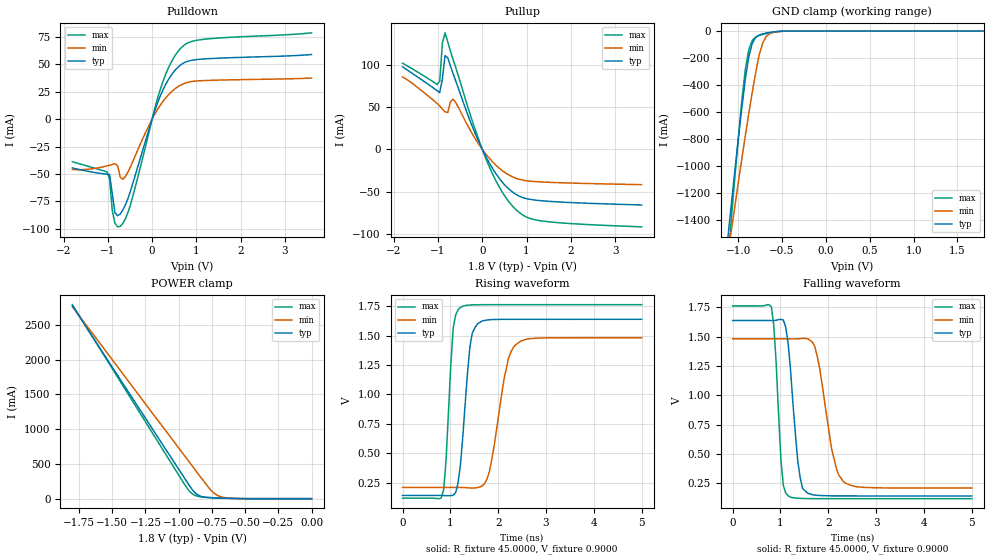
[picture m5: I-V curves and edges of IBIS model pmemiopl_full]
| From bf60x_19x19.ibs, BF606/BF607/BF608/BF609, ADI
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[Model]  pmemiopl_full
Model_type I/O
Polarity   Non-Inverting
Enable   Active-Low
Vinl =   0.6500V
Vinh =   1.1500V
Vmeas =  0.9000V
Cref =   10.0000pF
Rref =   45.0000
Vref =   0.9000V
C_comp   3.6123pF   3.9509pF   3.3683pF
[Temperature Range]   25.0000   0.1250k   0.0
[Voltage Range]   1.8000V   1.7000V   1.9000V
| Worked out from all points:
|   slope of the pulldown table from 0 to 0.27 V, typ, clamps not added: 9.42 ohm
|   slope of the pullup table from 0 to 0.27 V, typ, clamps not added: 10.5 ohm
|   GND clamp passes 1 mA (typ) near -0.49 V on its own axis
|   POWER clamp passes 1 mA (typ) near -0.53 V on its own axis
|   rising waveform, R_fixture 45.0000, V_fixture 0.9000: 20-80 % time 175ps typ, 302ps min, 128ps max; typ from 0.142 V to 1.64 V
|   falling waveform, R_fixture 45.0000, V_fixture 0.9000: 20-80 % time 177ps typ, 295ps min, 125ps max; typ from 1.64 V to 0.142 V
[Pulldown]
|Voltage   I(typ)   I(min)   I(max)
-1.8V     -44.49mA   -45.97mA   -38.75mA
-1.02V    -50.2mA    -42.59mA   -48mA
-960mV    -50.46mA   -41.97mA   -54.64mA
-900mV    -67.97mA   -41.33mA   -83.25mA
-840mV    -85.34mA   -40.61mA   -94.8mA
-780mV    -88.06mA   -42.31mA   -98.19mA
-720mV    -86.38mA   -52.97mA   -97.8mA
-480mV    -64.48mA   -42.69mA   -76.77mA
240mV     26.19mA    15.89mA    33.77mA
660mV     49.87mA    31.35mA    65.21mA
1.2V      54.91mA    35.2mA     72.91mA
3.6V      58.89mA    37.43mA    78.67mA
[Pullup]
|Voltage   I(typ)   I(min)   I(max)
-1.8V     97.36mA    85.53mA    101.7mA
-1.02V    69.26mA    54.11mA    76.6mA
-960mV    66.84mA    51mA       80.44mA
-900mV    82.93mA    47.56mA    125.5mA
-840mV    110.6mA    44.17mA    137.6mA
-780mV    108.2mA    43.43mA    127.1mA
-660mV    89.64mA    59.32mA    106.3mA
-240mV    28.95mA    19.54mA    35.9mA
120mV     -12.46mA   -8.155mA   -15.9mA
480mV     -40.59mA   -26.37mA   -53.01mA
900mV     -56.89mA   -36.38mA   -77.26mA
3.6V      -65.9mA    -41.87mA   -91.75mA
[GND_clamp]
|Voltage   I(typ)   I(min)   I(max)
-1.8V     -6.07A     -4.897A    -7.407A
-1.12V    -1.546A    -1.671A    -1.719A
-1.08V    -1.294A    -1.488A    -1.405A
-1V       -805.6mA   -1.129A    -801.4mA
-960mV    -575.4mA   -952.7mA   -523.3mA
-920mV    -361.5mA   -780.6mA   -288.5mA
-880mV    -190.9mA   -613.7mA   -138.4mA
-840mV    -90.93mA   -454mA     -68.72mA
-800mV    -46.73mA   -305.2mA   -43.97mA
-720mV    -20.7mA    -86.99mA   -25.13mA
-600mV    -6.426mA   -9.601mA   -8.755mA
1.8V      90.38pA    38.35nA    69.58pA
[POWER_clamp]
|Voltage   I(typ)   I(min)   I(max)
-1.8V     2.775A     2.761A     2.791A
-960mV    306.4mA    628.6mA    218.5mA
-920mV    189.6mA    527.3mA    109.9mA
-900mV    135.2mA    476.7mA    73.19mA
-880mV    91.17mA    426mA      49.38mA
-840mV    39.16mA    324.6mA    27.86mA
-760mV    13.35mA    127mA      16mA
-720mV    9.728mA    59.79mA    12.42mA
-680mV    7.06mA     25.51mA    9.286mA
-540mV    1.159mA    1.976mA    1.7mA
0V        90.38pA    3.773nA    81.3pA
[Ramp]
| variable   typ   min   max
dV/dt_r  0.8890/0.1922n   0.7520/0.3245n   0.9812/0.1375n
dV/dt_f  0.9070/0.2009n   0.7542/0.3559n   0.9986/0.1518n
R_load = 50.0000
[Rising Waveform]
R_fixture= 45.0000
V_fixture= 0.9000
V_fixture_min= 0.8500
V_fixture_max= 0.9500
L_fixture= 0.0H
C_fixture= 0.0F
|time   V(typ)   V(min)   V(max)
0s        142.5mV    210.2mV    119.2mV
810ps     142.1mV    210.1mV    120.8mV
910ps     140.1mV    210.1mV    440.5mV
1.06ns    144.7mV    210.2mV    1.565V
1.21ns    399.2mV    209.9mV    1.738V
1.41ns    1.41V      206.3mV    1.76V
1.57ns    1.601V     209.1mV    1.762V
1.82ns    1.634V     351.2mV    1.762V
2.37ns    1.638V     1.424V     1.762V
5ns       1.638V     1.482V     1.763V
[Falling Waveform]
R_fixture= 45.0000
V_fixture= 0.9000
V_fixture_min= 0.8500
V_fixture_max= 0.9500
L_fixture= 0.0H
C_fixture= 0.0F
|time   V(typ)   V(min)   V(max)
0s        1.638V     1.482V     1.763V
810ps     1.638V     1.482V     1.754V
1.01ns    1.648V     1.482V     446.3mV
1.16ns    1.444V     1.482V     143.4mV
1.36ns    443.5mV    1.482V     122.8mV
1.57ns    166.3mV    1.484V     120.2mV
1.72ns    150.2mV    1.414V     119.7mV
2.07ns    143.4mV    540.1mV    119.3mV
2.32ns    142.7mV    262.8mV    119.2mV
5ns       142.5mV    210.2mV    119.2mV
